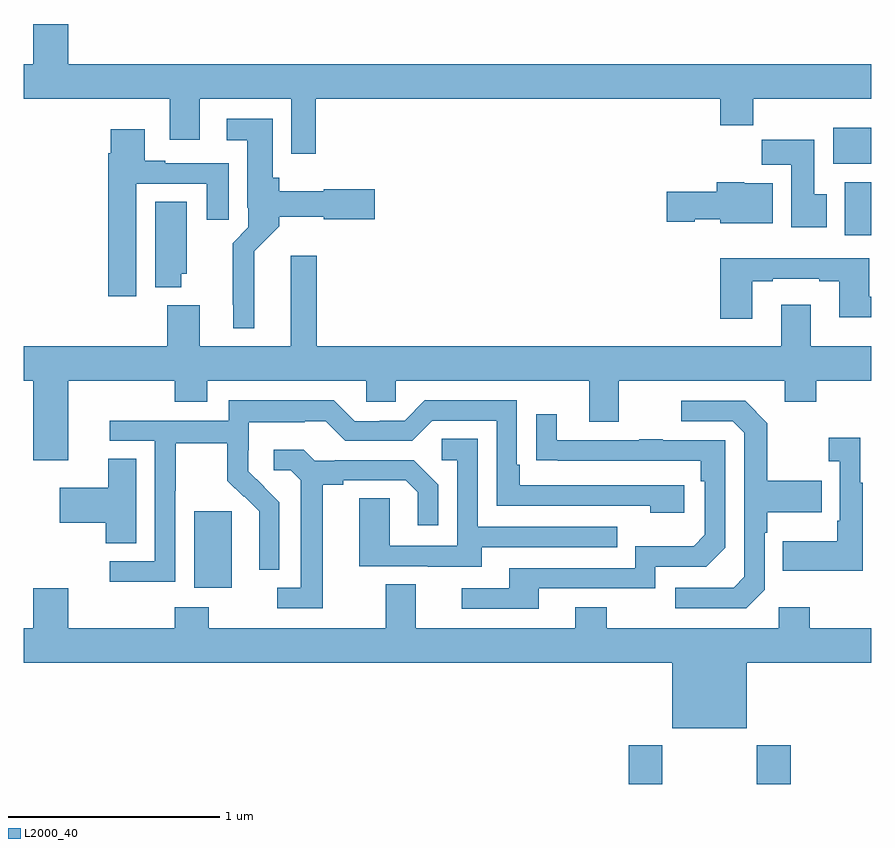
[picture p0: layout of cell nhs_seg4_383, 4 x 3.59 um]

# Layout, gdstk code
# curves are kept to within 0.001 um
import gdstk
lib = gdstk.Library(unit=1e-6, precision=1e-09)
def R(c, l, rs):  # rectangles x0, y0, x1, y1
    for r in rs: c.add(gdstk.rectangle(r[:2], r[2:], *l))
def P(c, l, *ps):  # polygons
    for p in ps: c.add(gdstk.Polygon(p, *l))
L2000_40 = (2000, 40)

nhs_seg4_383 = lib.new_cell('nhs_seg4_383')
R(nhs_seg4_383, L2000_40, [(131.855,810.9,132.015,811.084), (132.46,810.9,132.62,811.084), (129.803,811.826,129.982,812.187), (132.875,813.492,133,813.742), (132.821,813.83,133,814)])
P(nhs_seg4_383, L2000_40, [(130.379,814.136),(132.287,814.136),(132.287,814.012),(132.443,814.012),(132.443,814.136),(133,814.136),(133,814.3),(129.208,814.3),(129.208,814.489),(129.044,814.489),(129.044,814.3),(129,814.3),(129,814.136),(129.689,814.136),(129.689,813.942),(129.829,813.942),(129.829,814.136),(130.263,814.136),(130.263,813.876),(130.379,813.876)],
  [(130.087,813.416),(130.205,813.534),(130.205,813.578),(130.416,813.578),(130.416,813.566),(130.657,813.566),(130.657,813.708),(130.416,813.708),(130.416,813.7),(130.205,813.7),(130.205,813.762),(130.174,813.762),(130.174,814.042),(129.957,814.042),(129.957,813.941),(130.055,813.941),(130.055,813.622),(130.059,813.622),(130.059,813.528),(129.985,813.454),(129.985,813.163),(129.989,813.163),(129.989,813.053),(130.087,813.053)],
  [(129.529,813.735),(129.863,813.735),(129.863,813.564),(129.967,813.564),(129.967,813.831),(129.667,813.831),(129.667,813.844),(129.571,813.844),(129.571,813.991),(129.41,813.991),(129.41,813.878),(129.398,813.878),(129.398,813.204),(129.529,813.204)],
  [(132.79,813.684),(132.733,813.684),(132.733,813.942),(132.484,813.942),(132.484,813.824),(132.623,813.824),(132.623,813.528),(132.79,813.528)],
  [(132.535,813.736),(132.402,813.736),(132.402,813.742),(132.272,813.742),(132.272,813.696),(132.036,813.696),(132.036,813.554),(132.168,813.554),(132.168,813.566),(132.288,813.566),(132.288,813.548),(132.535,813.548)],
  [(129.742,813.309),(129.769,813.309),(129.769,813.65),(129.62,813.65),(129.62,813.245),(129.742,813.245)],
  [(129.208,812.804),(129.713,812.804),(129.713,812.705),(129.865,812.705),(129.865,812.804),(130.617,812.804),(130.617,812.706),(130.755,812.706),(130.755,812.804),(131.669,812.804),(131.669,812.61),(131.809,812.61),(131.809,812.804),(132.593,812.804),(132.593,812.705),(132.741,812.705),(132.741,812.804),(133,812.804),(133,812.968),(132.715,812.968),(132.715,813.163),(132.575,813.163),(132.575,812.968),(130.382,812.968),(130.382,813.394),(130.259,813.394),(130.259,812.968),(129.829,812.968),(129.829,813.16),(129.677,813.16),(129.677,812.968),(129,812.968),(129,812.804),(129.044,812.804),(129.044,812.43),(129.208,812.43)],
  [(132.439,813.273),(132.535,813.273),(132.535,813.285),(132.755,813.285),(132.755,813.273),(132.851,813.273),(132.851,813.104),(133,813.104),(133,813.201),(132.991,813.201),(132.991,813.382),(132.287,813.382),(132.287,813.096),(132.439,813.096)],
  [(129.714,812.284),(129.717,812.284),(129.717,812.508),(129.961,812.508),(129.961,812.333),(130.038,812.256),(130.041,812.259),(130.112,812.189),(130.112,812.066),(130.11,812.066),(130.11,811.912),(130.206,811.912),(130.206,812.23),(130.06,812.378),(130.06,812.475),(130.062,812.475),(130.062,812.609),(130.325,812.609),(130.325,812.613),(130.425,812.613),(130.518,812.52),(130.833,812.52),(130.929,812.616),(131.232,812.616),(131.232,812.214),(131.957,812.214),(131.957,812.18),(132.118,812.18),(132.118,812.31),(131.341,812.31),(131.341,812.407),(131.328,812.407),(131.328,812.712),(130.893,812.712),(130.797,812.616),(130.679,812.616),(130.679,812.613),(130.563,812.613),(130.463,812.713),(129.966,812.713),(129.966,812.616),(129.405,812.616),(129.405,812.52),(129.618,812.52),(129.618,811.953),(129.405,811.953),(129.405,811.855),(129.714,811.855)],
  [(132.498,811.818),(132.498,812.087),(132.511,812.087),(132.511,812.183),(132.767,812.183),(132.767,812.331),(132.511,812.331),(132.511,812.603),(132.405,812.709),(132.105,812.709),(132.105,812.613),(132.348,812.613),(132.402,812.559),(132.402,811.878),(132.351,811.827),(132.075,811.827),(132.075,811.731),(132.411,811.731)],
  [(131.431,811.824),(131.982,811.824),(131.982,811.926),(132.222,811.926),(132.312,812.016),(132.312,812.523),(132.017,812.523),(132.017,812.528),(131.905,812.528),(131.905,812.523),(131.515,812.523),(131.515,812.647),(131.419,812.647),(131.419,812.428),(132.196,812.427),(132.196,812.33),(132.216,812.33),(132.216,812.076),(132.163,812.023),(131.886,812.023),(131.886,811.92),(131.291,811.92),(131.291,811.824),(131.067,811.824),(131.067,811.728),(131.431,811.728)],
  [(132.961,812.323),(132.949,812.323),(132.949,812.536),(132.801,812.536),(132.801,812.423),(132.852,812.423),(132.852,812.143),(132.84,812.143),(132.84,812.047),(132.583,812.047),(132.583,811.907),(132.961,811.907)],
  [(131.161,812.019),(131.801,812.019),(131.801,812.115),(131.142,812.115),(131.142,812.531),(130.974,812.531),(130.974,812.43),(131.046,812.43),(131.046,812.025),(130.728,812.025),(130.728,812.249),(130.583,812.249),(130.583,811.929),(130.907,811.929),(130.907,811.925),(131.161,811.925)],
  [(130.411,812.312),(130.507,812.312),(130.507,812.334),(130.802,812.334),(130.859,812.277),(130.859,812.121),(130.956,812.121),(130.956,812.314),(130.84,812.43),(130.468,812.43),(130.468,812.427),(130.374,812.427),(130.322,812.479),(130.179,812.479),(130.179,812.382),(130.26,812.382),(130.307,812.335),(130.307,811.827),(130.197,811.827),(130.197,811.731),(130.411,811.731)],
  [(129.529,812.435),(129.398,812.435),(129.398,812.299),(129.168,812.299),(129.168,812.134),(129.386,812.134),(129.386,812.038),(129.529,812.038)],
  [(132.412,811.472),(133,811.472),(133,811.636),(132.711,811.636),(132.711,811.735),(132.564,811.735),(132.564,811.636),(131.751,811.636),(131.751,811.735),(131.603,811.735),(131.603,811.636),(130.849,811.636),(130.849,811.844),(130.709,811.844),(130.709,811.636),(129.873,811.636),(129.873,811.735),(129.713,811.735),(129.713,811.636),(129.208,811.636),(129.208,811.825),(129.044,811.825),(129.044,811.636),(129,811.636),(129,811.472),(132.062,811.472),(132.062,811.163),(132.412,811.163)])

lib.write_gds('nhs_seg4_383.gds')
